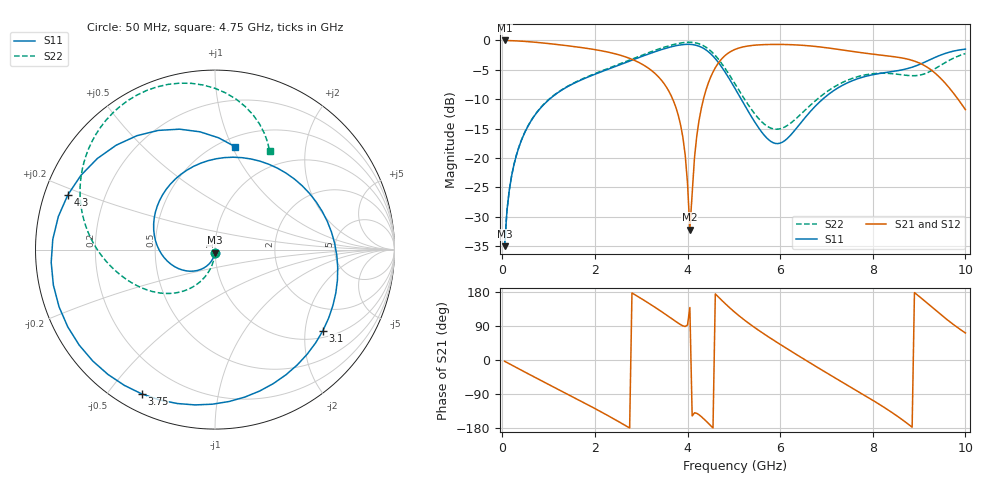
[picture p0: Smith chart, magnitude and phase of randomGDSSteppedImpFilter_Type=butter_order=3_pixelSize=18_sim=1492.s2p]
! freq	dB(S11)	phase(S11)	dB(S12)	phase(S12)
!  dB(S21)	phase(S21)	dB(S22)	phase(S22)
!S-par simulation data
#  GHz  S  DB  R 50
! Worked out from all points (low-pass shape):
!   200 points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, 50 MHz to 10 GHz, reference 50 ohm
!   highest |S21| = -0.01 dB at 50 MHz (marker M1); lowest = -32.2 dB at 4.05 GHz (marker M2)
!   |S21| within 3 dB of the highest: start of sweep to 2.733 GHz; 4.754 GHz to 8.645 GHz (3.891 GHz wide, 58.1 % of centre)
!   lowest |S11| = -35.0 dB at 50 MHz (marker M3), VSWR 1.04, Z = 49.8 - j1.76 ohm
!   |S11| at or under -10 dB: start of sweep to 1.019 GHz; 5.158 GHz to 6.919 GHz (1.761 GHz wide, 29.2 % of centre)
!   |S22| runs from -35.0 to -0.3 dB; largest |S21 - S12| = 0
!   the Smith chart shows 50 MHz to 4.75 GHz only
!   S11 on the Smith chart (normalised r, x): 50 MHz: 1.00, -0.04; 3.1 GHz: 1.19, -2.49; 3.75 GHz: 0.07, -0.61; 4.3 GHz: 0.07, +0.18; 4.75 GHz: 0.59, +1.03
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0.05  -35.02 -94.4  -0.01 -3.3  -0.01 -3.3  -35.00 -92.0
0.2  -23.11 -108.0  -0.04 -13.2  -0.04 -13.2  -23.08 -98.7
0.5  -15.44 -134.9  -0.17 -32.6  -0.17 -32.6  -15.39 -111.3
1.1  -9.47 171.2  -0.62 -70.8  -0.62 -70.8  -9.42 -134.1
1.75  -6.56 109.4  -1.26 -111.9  -1.26 -111.9  -6.48 -154.5
2.4  -4.56 41.7  -2.20 -154.8  -2.20 -154.8  -4.41 -172.8
3.1  -2.48 -37.0  -4.43 154.6  -4.43 154.6  -2.26 164.1
3.4  -1.66 -72.5  -6.44 130.8  -6.44 130.8  -1.41 151.3
3.75  -0.90 -116.9  -11.44 101.4  -11.44 101.4  -0.60 133.0
3.95  -0.68 -144.9  -19.53 88.4  -19.53 88.4  -0.34 120.4
4.05  -0.67 -159.8  -32.19 138.5  -32.19 138.5  -0.31 113.3
4.3  -1.16 159.6  -11.47 -149.7  -11.47 -149.7  -0.73 94.0
4.5  -2.28 124.5  -6.23 -173.2  -6.23 -173.2  -1.78 78.0
4.75  -4.67 79.0  -3.04 156.2  -3.04 156.2  -4.06 60.9
5.05  -8.52 24.1  -1.45 122.9  -1.45 122.9  -7.71 49.3
5.7  -16.52 -107.0  -0.70 64.8  -0.70 64.8  -14.50 63.2
6.7  -11.69 59.5  -0.97 -11.6  -0.97 -11.6  -10.69 91.1
7.55  -6.89 -19.5  -1.86 -73.6  -1.86 -73.6  -6.48 50.9
8.35  -5.38 -65.3  -2.67 -133.3  -2.67 -133.3  -5.62 -17.3
8.9  -4.42 -85.3  -3.52 177.9  -3.52 177.9  -6.01 -95.4
9.35  -2.87 -103.0  -5.60 132.0  -5.60 132.0  -4.79 -178.4
10  -1.48 -137.5  -11.78 71.4  -11.78 71.4  -2.24 90.6
